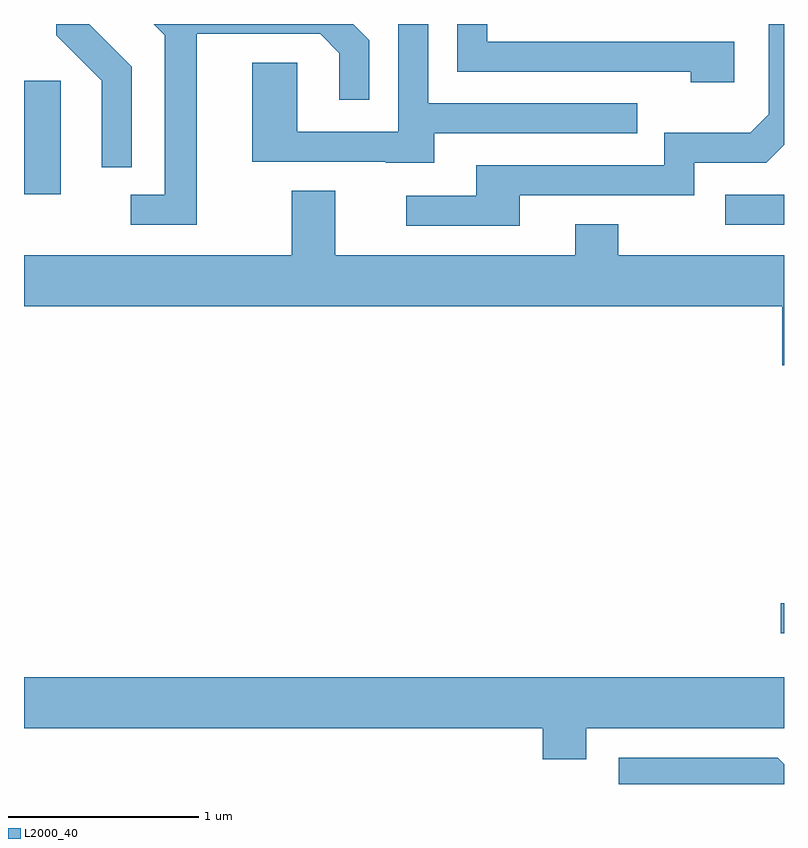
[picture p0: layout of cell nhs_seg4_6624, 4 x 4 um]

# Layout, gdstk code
import gdstk
lib = gdstk.Library(unit=1e-6, precision=1e-09)
def R(c, l, rs):  # rectangles x0, y0, x1, y1
    for r in rs: c.add(gdstk.rectangle(r[:2], r[2:], *l))
def P(c, l, *ps):  # polygons
    for p in ps: c.add(gdstk.Polygon(p, *l))
L2000_40 = (2000, 40)

nhs_seg4_6624 = lib.new_cell('nhs_seg4_6624')
R(nhs_seg4_6624, L2000_40, [(383.593,1310.776,383.611,1310.934), (383.303,1312.926,383.611,1313.084), (379.611,1313.086,379.804,1313.684)])
P(nhs_seg4_6624, L2000_40, [(382.219,1313.081),(383.139,1313.081),(383.139,1313.251),(383.517,1313.251),(383.611,1313.346),(383.611,1313.982),(383.531,1313.982),(383.531,1313.507),(383.434,1313.409),(382.981,1313.409),(382.981,1313.239),(381.991,1313.239),(381.991,1313.079),(381.623,1313.079),(381.623,1312.921),(382.219,1312.921)],
  [(380.179,1313.757),(379.954,1313.982),(379.781,1313.982),(379.781,1313.924),(380.021,1313.684),(380.021,1313.228),(380.179,1313.228)],
  [(383.349,1313.889),(382.049,1313.889),(382.049,1313.982),(381.891,1313.982),(381.891,1313.731),(383.121,1313.731),(383.121,1313.676),(383.349,1313.676)],
  [(380.519,1313.931),(381.169,1313.931),(381.271,1313.829),(381.271,1313.583),(381.429,1313.583),(381.429,1313.897),(381.344,1313.982),(380.293,1313.982),(380.351,1313.924),(380.351,1313.084),(380.173,1313.084),(380.173,1312.926),(380.519,1312.926)],
  [(381.769,1313.406),(382.838,1313.406),(382.838,1313.564),(381.739,1313.564),(381.739,1313.982),(381.581,1313.982),(381.581,1313.414),(381.049,1313.414),(381.049,1313.779),(380.811,1313.779),(380.811,1313.256),(381.515,1313.256),(381.515,1313.251),(381.769,1313.251)],
  [(383.611,1312.764),(382.739,1312.764),(382.739,1312.929),(382.511,1312.929),(382.511,1312.764),(381.249,1312.764),(381.249,1313.104),(381.021,1313.104),(381.021,1312.764),(379.611,1312.764),(379.611,1312.496),(383.601,1312.496),(383.601,1312.186),(383.611,1312.186)],
  [(382.569,1310.276),(383.611,1310.276),(383.611,1310.544),(379.611,1310.544),(379.611,1310.276),(382.341,1310.276),(382.341,1310.111),(382.569,1310.111)],
  [(383.611,1310.085),(383.577,1310.119),(382.741,1310.119),(382.741,1309.982),(383.611,1309.982)])

lib.write_gds('nhs_seg4_6624.gds')
